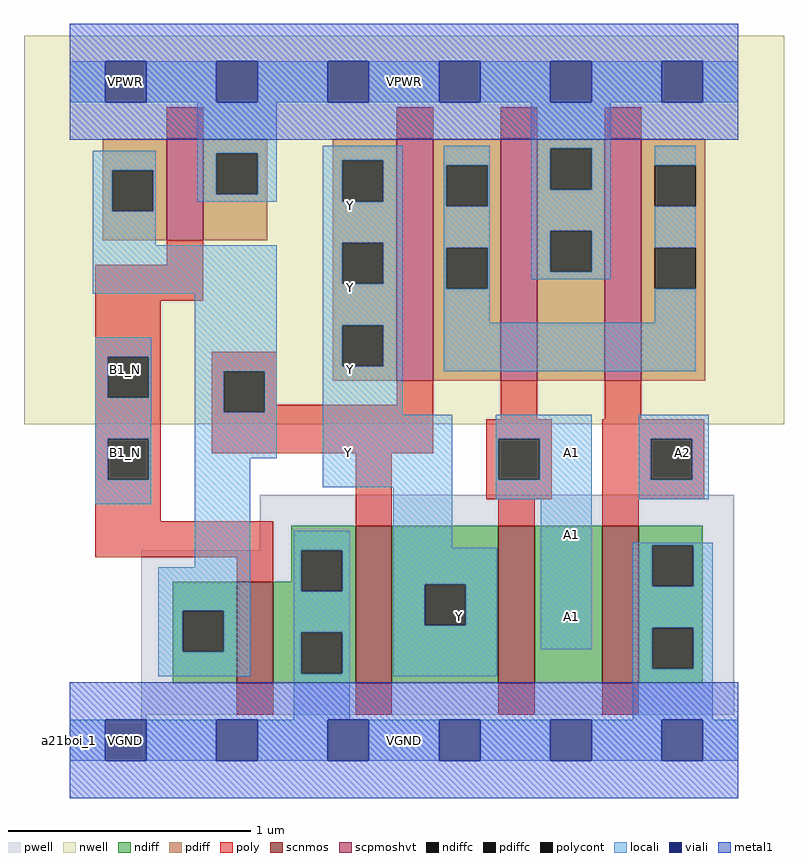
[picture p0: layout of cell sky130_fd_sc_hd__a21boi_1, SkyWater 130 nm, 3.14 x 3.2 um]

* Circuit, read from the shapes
.subckt sky130_fd_sc_hd__a21boi_1 A1 A2 B1_N VGND VNB VPB VPWR Y
XM1 VGND B1_N n1 VNB sky130_fd_pr__nfet_01v8 w=0.42 l=0.15
XM2 Y n1 VGND VNB sky130_fd_pr__nfet_01v8 w=0.65 l=0.15
XM3 n2 A1 Y VNB sky130_fd_pr__nfet_01v8 w=0.65 l=0.15
XM4 VGND A2 n2 VNB sky130_fd_pr__nfet_01v8 w=0.65 l=0.15
XM5 VPWR B1_N n1 VPB sky130_fd_pr__pfet_01v8_hvt w=0.42 l=0.15
XM6 n3 n1 Y VPB sky130_fd_pr__pfet_01v8_hvt w=1 l=0.15
XM7 VPWR A1 n3 VPB sky130_fd_pr__pfet_01v8_hvt w=1 l=0.15
XM8 n3 A2 VPWR VPB sky130_fd_pr__pfet_01v8_hvt w=1 l=0.15
.ends

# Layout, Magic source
magic
tech sky130A
magscale 1 2
<< nwell >>
rect -38 261 590 582
<< pwell >>
rect 157 157 549 203
rect 59 21 549 157
rect 59 17 63 21
rect 29 -17 63 17
<< scnmos >>
rect 138 47 168 131
rect 236 47 266 177
rect 354 47 384 177
rect 440 47 470 177
<< scpmoshvt >>
rect 80 413 110 497
rect 270 297 300 497
rect 356 297 386 497
rect 442 297 472 497
<< ndiff >>
rect 183 157 236 177
rect 183 131 191 157
rect 85 107 138 131
rect 85 73 93 107
rect 127 73 138 107
rect 85 47 138 73
rect 168 123 191 131
rect 225 123 236 157
rect 168 89 236 123
rect 168 55 191 89
rect 225 55 236 89
rect 168 47 236 55
rect 266 129 354 177
rect 266 95 293 129
rect 327 95 354 129
rect 266 47 354 95
rect 384 47 440 177
rect 470 161 523 177
rect 470 127 481 161
rect 515 127 523 161
rect 470 93 523 127
rect 470 59 481 93
rect 515 59 523 93
rect 470 47 523 59
<< pdiff >>
rect 27 471 80 497
rect 27 437 35 471
rect 69 437 80 471
rect 27 413 80 437
rect 110 485 163 497
rect 110 451 121 485
rect 155 451 163 485
rect 110 413 163 451
rect 217 479 270 497
rect 217 445 225 479
rect 259 445 270 479
rect 217 411 270 445
rect 217 377 225 411
rect 259 377 270 411
rect 217 343 270 377
rect 217 309 225 343
rect 259 309 270 343
rect 217 297 270 309
rect 300 475 356 497
rect 300 441 311 475
rect 345 441 356 475
rect 300 407 356 441
rect 300 373 311 407
rect 345 373 356 407
rect 300 297 356 373
rect 386 489 442 497
rect 386 455 397 489
rect 431 455 442 489
rect 386 421 442 455
rect 386 387 397 421
rect 431 387 442 421
rect 386 297 442 387
rect 472 475 525 497
rect 472 441 483 475
rect 517 441 525 475
rect 472 407 525 441
rect 472 373 483 407
rect 517 373 525 407
rect 472 297 525 373
<< ndiffc >>
rect 93 73 127 107
rect 191 123 225 157
rect 191 55 225 89
rect 293 95 327 129
rect 481 127 515 161
rect 481 59 515 93
<< pdiffc >>
rect 35 437 69 471
rect 121 451 155 485
rect 225 445 259 479
rect 225 377 259 411
rect 225 309 259 343
rect 311 441 345 475
rect 311 373 345 407
rect 397 455 431 489
rect 397 387 431 421
rect 483 441 517 475
rect 483 373 517 407
<< poly >>
rect 80 497 110 523
rect 270 497 300 523
rect 356 497 386 523
rect 442 497 472 523
rect 80 393 110 413
rect 21 363 110 393
rect 21 317 75 363
rect 21 283 31 317
rect 65 283 75 317
rect 21 249 75 283
rect 21 215 31 249
rect 65 215 75 249
rect 117 305 171 321
rect 117 271 127 305
rect 161 277 171 305
rect 270 277 300 297
rect 161 271 300 277
rect 117 237 300 271
rect 356 265 386 297
rect 442 265 472 297
rect 344 249 398 265
rect 21 181 75 215
rect 21 151 168 181
rect 236 177 266 237
rect 344 215 354 249
rect 388 215 398 249
rect 344 199 398 215
rect 440 249 524 265
rect 440 215 480 249
rect 514 215 524 249
rect 440 199 524 215
rect 354 177 384 199
rect 440 177 470 199
rect 138 131 168 151
rect 138 21 168 47
rect 236 21 266 47
rect 354 21 384 47
rect 440 21 470 47
<< polycont >>
rect 31 283 65 317
rect 31 215 65 249
rect 127 271 161 305
rect 354 215 388 249
rect 480 215 514 249
<< locali >>
rect 0 527 29 561
rect 63 527 121 561
rect 155 527 213 561
rect 247 527 305 561
rect 339 527 397 561
rect 431 527 489 561
rect 523 527 552 561
rect 19 471 71 487
rect 19 437 35 471
rect 69 437 71 471
rect 105 485 171 527
rect 105 451 121 485
rect 155 451 171 485
rect 105 445 171 451
rect 209 479 275 491
rect 209 445 225 479
rect 259 445 275 479
rect 19 409 71 437
rect 209 411 275 445
rect 19 369 171 409
rect 21 317 67 333
rect 21 283 31 317
rect 65 283 67 317
rect 21 249 67 283
rect 21 215 31 249
rect 65 215 67 249
rect 21 195 67 215
rect 103 305 171 369
rect 103 271 127 305
rect 161 271 171 305
rect 103 233 171 271
rect 209 377 225 411
rect 259 377 275 411
rect 209 343 275 377
rect 209 309 225 343
rect 259 309 275 343
rect 209 269 275 309
rect 309 475 347 491
rect 309 441 311 475
rect 345 441 347 475
rect 309 407 347 441
rect 309 373 311 407
rect 345 373 347 407
rect 381 489 447 527
rect 381 455 397 489
rect 431 455 447 489
rect 381 421 447 455
rect 381 387 397 421
rect 431 387 447 421
rect 381 381 447 387
rect 483 475 517 491
rect 483 407 517 441
rect 309 345 347 373
rect 483 345 517 373
rect 309 305 517 345
rect 103 143 149 233
rect 209 209 316 269
rect 73 107 149 143
rect 73 73 93 107
rect 127 73 149 107
rect 73 53 149 73
rect 185 157 231 173
rect 185 123 191 157
rect 225 123 231 157
rect 185 89 231 123
rect 185 55 191 89
rect 225 55 231 89
rect 185 17 231 55
rect 267 159 316 209
rect 352 249 431 269
rect 352 215 354 249
rect 388 215 431 249
rect 352 199 431 215
rect 470 249 528 269
rect 470 215 480 249
rect 514 215 528 249
rect 470 199 528 215
rect 267 129 353 159
rect 267 95 293 129
rect 327 95 353 129
rect 267 53 353 95
rect 389 75 431 199
rect 465 161 531 163
rect 465 127 481 161
rect 515 127 531 161
rect 465 93 531 127
rect 465 59 481 93
rect 515 59 531 93
rect 465 17 531 59
rect 0 -17 29 17
rect 63 -17 121 17
rect 155 -17 213 17
rect 247 -17 305 17
rect 339 -17 397 17
rect 431 -17 489 17
rect 523 -17 552 17
<< viali >>
rect 29 527 63 561
rect 121 527 155 561
rect 213 527 247 561
rect 305 527 339 561
rect 397 527 431 561
rect 489 527 523 561
rect 29 -17 63 17
rect 121 -17 155 17
rect 213 -17 247 17
rect 305 -17 339 17
rect 397 -17 431 17
rect 489 -17 523 17
<< metal1 >>
rect 0 561 552 592
rect 0 527 29 561
rect 63 527 121 561
rect 155 527 213 561
rect 247 527 305 561
rect 339 527 397 561
rect 431 527 489 561
rect 523 527 552 561
rect 0 496 552 527
rect 0 17 552 48
rect 0 -17 29 17
rect 63 -17 121 17
rect 155 -17 213 17
rect 247 -17 305 17
rect 339 -17 397 17
rect 431 -17 489 17
rect 523 -17 552 17
rect 0 -48 552 -17
<< labels >>
flabel locali s 305 85 339 119 0 FreeSans 200 0 0 0 Y
port 8 nsew signal output
flabel locali s 213 221 247 255 0 FreeSans 200 0 0 0 Y
port 8 nsew signal output
flabel locali s 397 221 431 255 0 FreeSans 200 0 0 0 A1
port 1 nsew signal input
flabel locali s 215 425 249 459 0 FreeSans 200 0 0 0 Y
port 8 nsew signal output
flabel locali s 215 289 249 323 0 FreeSans 200 0 0 0 Y
port 8 nsew signal output
flabel locali s 29 221 63 255 0 FreeSans 200 0 0 0 B1_N
port 3 nsew signal input
flabel locali s 215 357 249 391 0 FreeSans 200 0 0 0 Y
port 8 nsew signal output
flabel locali s 397 85 431 119 0 FreeSans 200 0 0 0 A1
port 1 nsew signal input
flabel locali s 489 221 523 255 0 FreeSans 200 0 0 0 A2
port 2 nsew signal input
flabel locali s 29 289 63 323 0 FreeSans 200 0 0 0 B1_N
port 3 nsew signal input
flabel locali s 397 153 431 187 0 FreeSans 200 0 0 0 A1
port 1 nsew signal input
flabel metal1 s 29 527 63 561 0 FreeSans 200 0 0 0 VPWR
port 7 nsew power bidirectional abutment
flabel metal1 s 29 -17 63 17 0 FreeSans 200 0 0 0 VGND
port 4 nsew ground bidirectional abutment
flabel nwell s 29 527 63 561 0 FreeSans 200 0 0 0 VPB
port 6 nsew power bidirectional
flabel pwell s 29 -17 63 17 0 FreeSans 200 0 0 0 VNB
port 5 nsew ground bidirectional
rlabel comment s 0 0 0 0 4 a21boi_1
rlabel metal1 s 0 -48 552 48 1 VGND
port 4 nsew ground bidirectional abutment
rlabel metal1 s 0 496 552 592 1 VPWR
port 7 nsew power bidirectional abutment
<< properties >>
string FIXED_BBOX 0 0 552 544
string GDS_END 3994330
string GDS_FILE $PDKPATH/libs.ref/sky130_fd_sc_hd/gds/sky130_fd_sc_hd.gds
string GDS_START 3988094
string LEFclass CORE
string LEFsite unithd
string LEFsymmetry X Y R90
string path 0.000 0.000 13.800 0.000 
<< end >>
